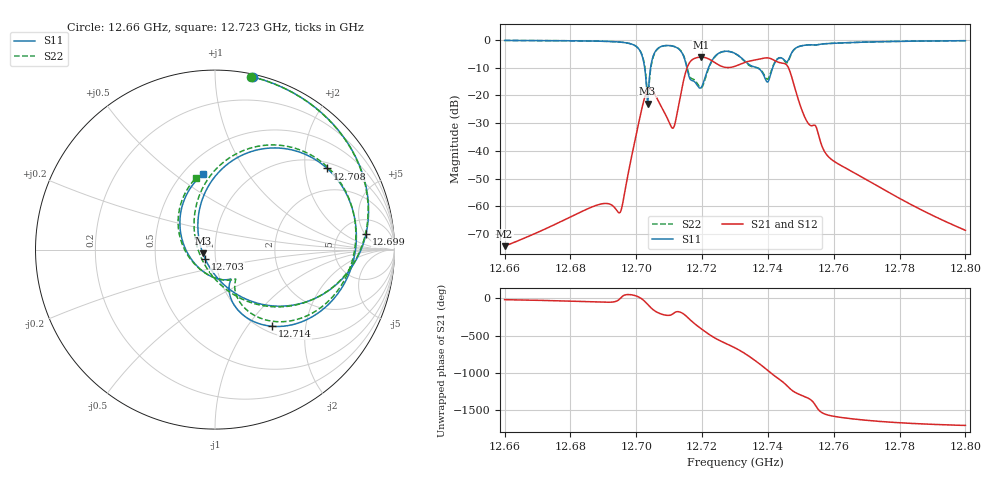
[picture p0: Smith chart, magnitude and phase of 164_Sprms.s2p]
! TOUCHSTONE file generated by CST MICROWAVE STUDIO
! Date and time: Wed Jul 31 19:08:41 2024
! Project name: WaveGuide_BPF-Ver4.1_U-shape_Ku_T3_C4_CWA_2.cst
! Parameters = {cavity_h=16; cavity_l0=10; cavity_l1=15.1677; cavity_l2=16.8466; cavity_l3=17.1295; cavity_l4=17.2913; cavity_l5=17.1088; cavity_l6=17.5793; cavity_r=2.5; cavity_screw_l=0.5; cavity_screw_r=1.5; cavity_w=8; iris_h00=0; iris_h01=8.8141; iris_h112=0; iris_h12=5.5921; iris_h211=3.6558; 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
! Header version: 2018
! Port assignment regex: !\s*Touchstone port\s*([0-9]+)\s*=\s*(CST MWS port|CST DS port)\s*([0-9]+|Zmin|Zmax)\s*\(\"(.*)\"\)(\s*mode\s*([0-9]+))?.*
! Touchstone port assignment:
! Touchstone port 1 = CST MWS port 1 ("")
! Touchstone port 2 = CST MWS port 2 ("")
# GHz S RI R 50
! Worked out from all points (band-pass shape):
!   5001 points, 12.66 GHz to 12.8 GHz, reference 50 ohm
!   highest |S21| = -6.14 dB at 12.72 GHz (marker M1); lowest = -74.4 dB at 12.66 GHz (marker M2)
!   |S21| within 3 dB of the highest: 12.71574 GHz to 12.72529 GHz (9.548 MHz wide, 0.0751 % of centre); 12.73072 GHz to 12.74581 GHz (15.09 MHz wide, 0.118 % of centre)
!   lowest |S11| = -23.0 dB at 12.703 GHz (marker M3), VSWR 1.15, Z = 43.6 - j1.83 ohm
!   |S11| at or under -10 dB: 12.70256 GHz to 12.70435 GHz (1.789 MHz wide, 0.0141 % of centre); 12.71539 GHz to 12.72194 GHz (6.547 MHz wide, 0.0515 % of centre); 12.73674 GHz to 12.74144 GHz (4.705 MHz wide, 0.0369 % of centre)
!   |S22| runs from -21.0 to -0.1 dB; largest |S21 - S12| = 1e-09
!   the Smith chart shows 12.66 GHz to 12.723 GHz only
!   S11 on the Smith chart (normalised r, x): 12.66 GHz: 0.02, +1.24; 12.699 GHz: 9, +5; 12.703 GHz: 0.89, -0.09; 12.708 GHz: 1.17, +2.62; 12.714 GHz: 1.10, -1.32; 12.723 GHz: 0.62, +0.64
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12.66  0.21 0.9619  0.000184 -5.21e-05  0.000184 -5.21e-05  0.2018 0.9638
12.68335  0.5732 0.7796  0.000608 -0.000522  0.000608 -0.000522  0.5645 0.7861
12.695  0.8293 0.3992  0.000764 -5.84e-05  0.000764 -5.84e-05  0.8243 0.4099
12.69861  0.841 0.0856  0.00526 0.00609  0.00526 0.00609  0.8405 0.097
12.70337  -0.055 -0.0517  0.0317 -0.1178  0.0317 -0.1178  -0.0542 -0.0894
12.70346  -0.0678 -0.0208  0.0238 -0.1218  0.0238 -0.1218  -0.07 -0.06
12.70668  0.4634 0.5457  -0.0782 0.0181  -0.0782 0.0181  0.4129 0.5732
12.70771  0.6248 0.4522  -0.0527 0.0318  -0.0527 0.0318  0.5867 0.4935
12.71124  0.7714 -0.0596  -0.0238 0.0103  -0.0238 0.0103  0.778 -0.00211
12.71426  0.3167 -0.4271  -0.1581 0.074  -0.1581 0.074  0.3678 -0.402
12.71664  0.0885 -0.1676  0.1994 0.3732  0.1994 0.3732  0.1148 -0.1691
12.71975  -0.1261 -0.0613  0.3257 -0.3704  0.3257 -0.3704  -0.1021 -0.0922
12.72297  -0.0692 0.4192  -0.3593 -0.2244  -0.3593 -0.2244  -0.1039 0.4015
12.73  0.499 -0.2838  0.1941 0.2754  0.1941 0.2754  0.514 -0.2514
12.73543  -0.3346 -0.00949  -0.035 -0.428  -0.035 -0.428  -0.3275 0.00667
12.73806  -0.087 0.2574  -0.4614 0.0119  -0.4614 0.0119  -0.0761 0.2696
12.7403  -0.0819 0.1731  -0.061 0.4701  -0.061 0.4701  -0.0682 0.2013
12.74529  0.2084 0.3614  0.1055 -0.3571  0.1055 -0.3571  0.2282 0.3338
12.75335  0.8008 -0.1824  0.0132 0.0253  0.0132 0.0253  0.8028 -0.1816
12.76284  0.1294 -0.8813  -0.00505 -0.00123  -0.00505 -0.00123  0.144 -0.8795
12.77668  -0.722 -0.6044  -0.00127 0.00126  -0.00127 0.00126  -0.7126 -0.6149
12.8  -0.9717 0.0744  3.75e-06 0.000369  3.75e-06 0.000369  -0.9722 0.0653
